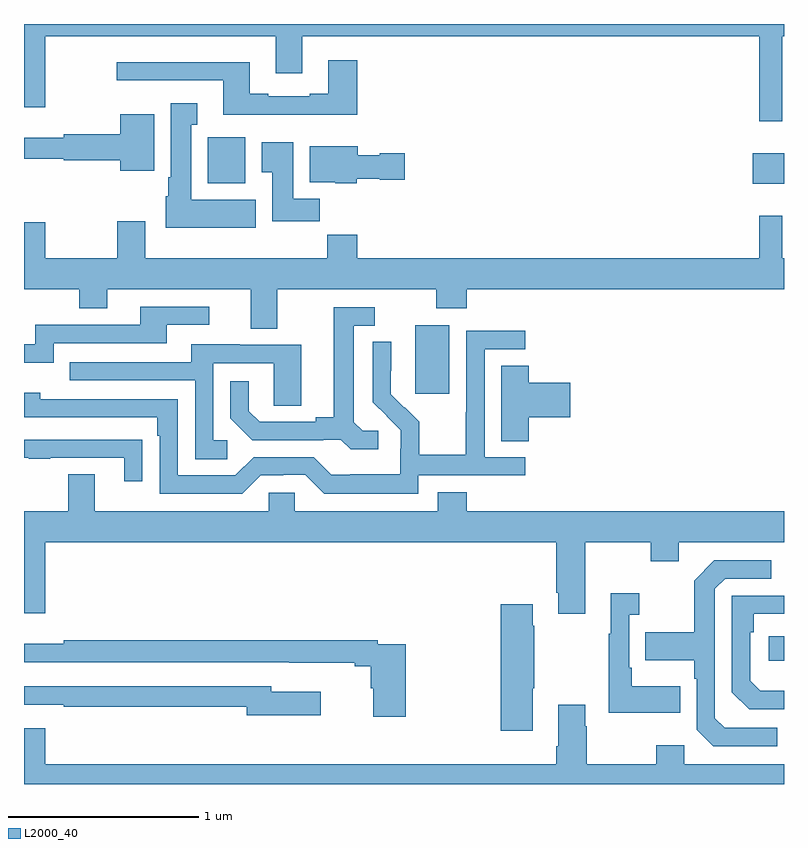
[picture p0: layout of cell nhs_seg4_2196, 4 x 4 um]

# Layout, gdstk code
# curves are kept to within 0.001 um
import gdstk
lib = gdstk.Library(unit=1e-6, precision=1e-09)
def R(c, l, rs):  # rectangles x0, y0, x1, y1
    for r in rs: c.add(gdstk.rectangle(r[:2], r[2:], *l))
def P(c, l, *ps):  # polygons
    for p in ps: c.add(gdstk.Polygon(p, *l))
L2000_40 = (2000, 40)

nhs_seg4_2196 = lib.new_cell('nhs_seg4_2196')
R(nhs_seg4_2196, L2000_40, [(228.921,777.548,229,777.678), (227.06,778.953,227.239,779.314), (228.836,780.059,229,780.22), (225.968,780.062,226.165,780.304)])
P(nhs_seg4_2196, L2000_40, [(225,780.462),(225.112,780.462),(225.112,780.836),(226.325,780.836),(226.325,780.642),(226.465,780.642),(226.465,780.836),(228.87,780.836),(228.87,780.387),(228.991,780.387),(228.991,780.836),(229,780.836),(229,780.9),(225,780.9)],
  [(226.754,780.709),(226.601,780.709),(226.601,780.532),(226.505,780.532),(226.505,780.519),(226.285,780.519),(226.285,780.532),(226.189,780.532),(226.189,780.7),(225.489,780.7),(225.489,780.603),(226.049,780.603),(226.049,780.422),(226.754,780.422)],
  [(226.219,779.974),(225.88,779.974),(225.88,780.371),(225.913,780.371),(225.913,780.484),(225.773,780.484),(225.773,780.094),(225.758,780.094),(225.758,779.994),(225.746,779.994),(225.746,779.828),(226.219,779.828)],
  [(225.685,780.424),(225.506,780.424),(225.506,780.32),(225.208,780.32),(225.208,780.301),(225,780.301),(225,780.192),(225.21,780.192),(225.21,780.184),(225.506,780.184),(225.506,780.128),(225.685,780.128)],
  [(226.556,779.98),(226.417,779.98),(226.417,780.277),(226.25,780.277),(226.25,780.121),(226.307,780.121),(226.307,779.862),(226.556,779.862)],
  [(226.752,780.086),(226.872,780.086),(226.872,780.079),(227.005,780.079),(227.005,780.221),(226.872,780.221),(226.872,780.208),(226.756,780.208),(226.756,780.256),(226.505,780.256),(226.505,780.068),(226.638,780.068),(226.638,780.062),(226.752,780.062)],
  [(227.17,779.405),(227.33,779.405),(227.33,779.504),(229,779.504),(229,779.668),(228.991,779.668),(228.991,779.89),(228.87,779.89),(228.87,779.668),(226.754,779.668),(226.754,779.792),(226.597,779.792),(226.597,779.668),(225.637,779.668),(225.637,779.863),(225.49,779.863),(225.49,779.668),(225.112,779.668),(225.112,779.857),(225,779.857),(225,779.504),(225.292,779.504),(225.292,779.405),(225.439,779.405),(225.439,779.504),(226.193,779.504),(226.193,779.296),(226.333,779.296),(226.333,779.504),(227.17,779.504)],
  [(225.156,779.22),(225.751,779.22),(225.751,779.316),(225.976,779.316),(225.976,779.412),(225.611,779.412),(225.611,779.316),(225.06,779.316),(225.06,779.214),(225,779.214),(225,779.117),(225.156,779.117)],
  [(226.864,778.758),(226.782,778.758),(226.735,778.805),(226.735,779.313),(226.846,779.313),(226.846,779.409),(226.631,779.409),(226.631,778.829),(226.535,778.829),(226.535,778.806),(226.24,778.806),(226.183,778.863),(226.183,779.02),(226.086,779.02),(226.086,778.826),(226.202,778.71),(226.574,778.71),(226.574,778.713),(226.668,778.713),(226.72,778.661),(226.864,778.661)],
  [(227.076,778.524),(227.638,778.524),(227.638,778.62),(227.424,778.62),(227.424,779.187),(227.638,779.187),(227.638,779.286),(227.328,779.286),(227.328,778.856),(227.326,778.856),(227.326,778.633),(227.081,778.633),(227.081,778.807),(227.004,778.884),(227.001,778.881),(226.931,778.952),(226.932,779.228),(226.836,779.228),(226.836,778.91),(226.982,778.762),(226.982,778.665),(226.98,778.665),(226.98,778.531),(226.717,778.531),(226.717,778.527),(226.617,778.527),(226.524,778.62),(226.209,778.62),(226.113,778.524),(225.81,778.524),(225.81,778.926),(225.086,778.926),(225.086,778.96),(225,778.96),(225,778.83),(225.701,778.83),(225.701,778.733),(225.714,778.733),(225.714,778.428),(226.149,778.428),(226.245,778.524),(226.364,778.524),(226.364,778.527),(226.479,778.527),(226.579,778.427),(227.076,778.427)],
  [(226.069,778.71),(225.996,778.71),(225.996,779.115),(226.314,779.115),(226.314,778.891),(226.459,778.891),(226.459,779.211),(226.135,779.211),(226.135,779.215),(225.881,779.215),(225.881,779.121),(225.241,779.121),(225.241,779.025),(225.9,779.025),(225.9,778.609),(226.069,778.609)],
  [(227.657,778.829),(227.875,778.829),(227.875,779.012),(227.657,779.012),(227.657,779.102),(227.513,779.102),(227.513,778.705),(227.657,778.705)],
  [(225.623,778.712),(225.521,778.712),(225.521,778.713),(225,778.713),(225,778.617),(225.025,778.617),(225.025,778.612),(225.137,778.612),(225.137,778.617),(225.527,778.617),(225.527,778.494),(225.623,778.494)],
  [(227.953,778.172),(228.298,778.172),(228.298,778.073),(228.445,778.073),(228.445,778.172),(229,778.172),(229,778.336),(227.33,778.336),(227.33,778.435),(227.177,778.435),(227.177,778.336),(226.425,778.336),(226.425,778.434),(226.287,778.434),(226.287,778.336),(225.373,778.336),(225.373,778.531),(225.233,778.531),(225.233,778.336),(225,778.336),(225,777.798),(225.112,777.798),(225.112,778.172),(227.801,778.172),(227.801,777.907),(227.813,777.907),(227.813,777.795),(227.953,777.795)],
  [(228.964,777.195),(228.687,777.195),(228.636,777.246),(228.636,777.927),(228.69,777.981),(228.934,777.981),(228.934,778.077),(228.633,778.077),(228.528,777.971),(228.528,777.699),(228.271,777.699),(228.271,777.551),(228.528,777.551),(228.528,777.455),(228.54,777.455),(228.54,777.186),(228.627,777.099),(228.964,777.099)],
  [(228.455,777.415),(228.199,777.415),(228.199,777.511),(228.186,777.511),(228.186,777.791),(228.238,777.791),(228.238,777.904),(228.089,777.904),(228.089,777.691),(228.078,777.691),(228.078,777.275),(228.455,777.275)],
  [(229,777.391),(228.875,777.391),(228.822,777.444),(228.822,777.698),(228.842,777.698),(228.842,777.795),(229,777.795),(229,777.891),(228.726,777.891),(228.726,777.384),(228.816,777.294),(229,777.294)],
  [(227.677,777.403),(227.685,777.403),(227.685,777.734),(227.677,777.734),(227.677,777.847),(227.51,777.847),(227.51,777.18),(227.677,777.18)],
  [(227.009,777.636),(226.862,777.636),(226.862,777.656),(225.208,777.656),(225.208,777.637),(225,777.637),(225,777.54),(226.396,777.54),(226.396,777.539),(226.742,777.539),(226.742,777.52),(226.826,777.52),(226.826,777.405),(226.838,777.405),(226.838,777.255),(227.009,777.255)],
  [(226.561,777.385),(226.3,777.385),(226.3,777.414),(225,777.414),(225,777.318),(225.208,777.318),(225.208,777.306),(226.172,777.306),(226.172,777.263),(226.561,777.263)],
  [(229,777.004),(228.474,777.004),(228.474,777.103),(228.328,777.103),(228.328,777.004),(227.961,777.004),(227.961,777.203),(227.953,777.203),(227.953,777.316),(227.813,777.316),(227.813,777.1),(227.801,777.1),(227.801,777.004),(225.112,777.004),(225.112,777.193),(225,777.193),(225,776.9),(229,776.9)])

lib.write_gds('nhs_seg4_2196.gds')
